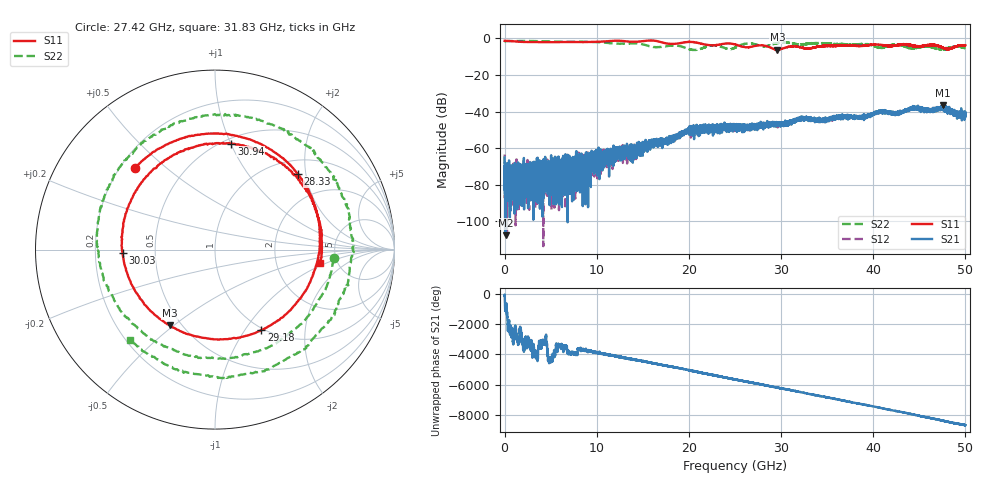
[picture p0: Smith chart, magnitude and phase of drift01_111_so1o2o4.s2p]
!Created with skrf (http://scikit-rf.org).
# Hz S RI R 50.0
!freq ReS11 ImS11 ReS21 ImS21 ReS12 ImS12 ReS22 ImS22
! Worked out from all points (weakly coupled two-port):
!   10001 points, 300 kHz to 50 GHz, reference 50 ohm
!   highest |S21| = -36.64 dB at 47.57 GHz (marker M1); lowest = -107.8 dB at 135.3 MHz (marker M2)
!   lowest |S11| = -6.2 dB at 29.61 GHz (marker M3), VSWR 2.93, Z = 21.7 - j24.1 ohm
!   |S11| at or under -10 dB: nowhere
!   |S22| runs from -6.4 to -1.4 dB; largest |S21 - S12| = 0.004
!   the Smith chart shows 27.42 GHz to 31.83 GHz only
!   S11 on the Smith chart (normalised r, x): 27.42 GHz: 0.26, +0.40; 28.33 GHz: 1.30, +1.81; 29.18 GHz: 0.97, -1.19; 30.03 GHz: 0.32, -0.02; 30.94 GHz: 0.55, +1.01; 31.83 GHz: 3.67, -0.87
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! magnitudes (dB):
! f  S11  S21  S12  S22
! 300 kHz  -1.3  -65.2  -63.5  -2.1
! 135.3 MHz  -1.4  -107.8  -86.5  -1.5
! 260.3 MHz  -1.4  -74.5  -105.6  -1.4
! 690.3 MHz  -1.5  -81.6  -74.3  -1.5
! 4.205 GHz  -2.1  -71.5  -74.0  -1.5
! 8.335 GHz  -2.0  -63.0  -70.9  -1.8
! 16.67 GHz  -1.6  -56.1  -56.2  -4.8
! 18.62 GHz  -2.9  -53.5  -54.8  -3.9
! 20.34 GHz  -1.9  -50.4  -50.6  -6.2
! 22.62 GHz  -3.8  -49.2  -48.1  -3.8
! 25 GHz  -3.3  -48.3  -49.2  -5.1
! 27.42 GHz  -3.9  -47.6  -48.4  -3.6
! 28.33 GHz  -4.1  -47.4  -47.0  -4.3
! 29.18 GHz  -5.7  -46.8  -47.2  -3.1
! 29.61 GHz  -6.2  -47.0  -47.5  -2.5
! 30.03 GHz  -5.8  -46.2  -46.6  -2.3
! 30.94 GHz  -4.5  -45.8  -45.7  -2.5
! 31.83 GHz  -4.6  -44.0  -44.2  -3.2
! 33.34 GHz  -5.2  -44.1  -44.1  -2.6
! 41.67 GHz  -4.3  -40.5  -40.0  -4.1
! 47.57 GHz  -5.0  -36.6  -38.5  -5.7
! 50 GHz  -3.8  -42.5  -42.4  -5.3
